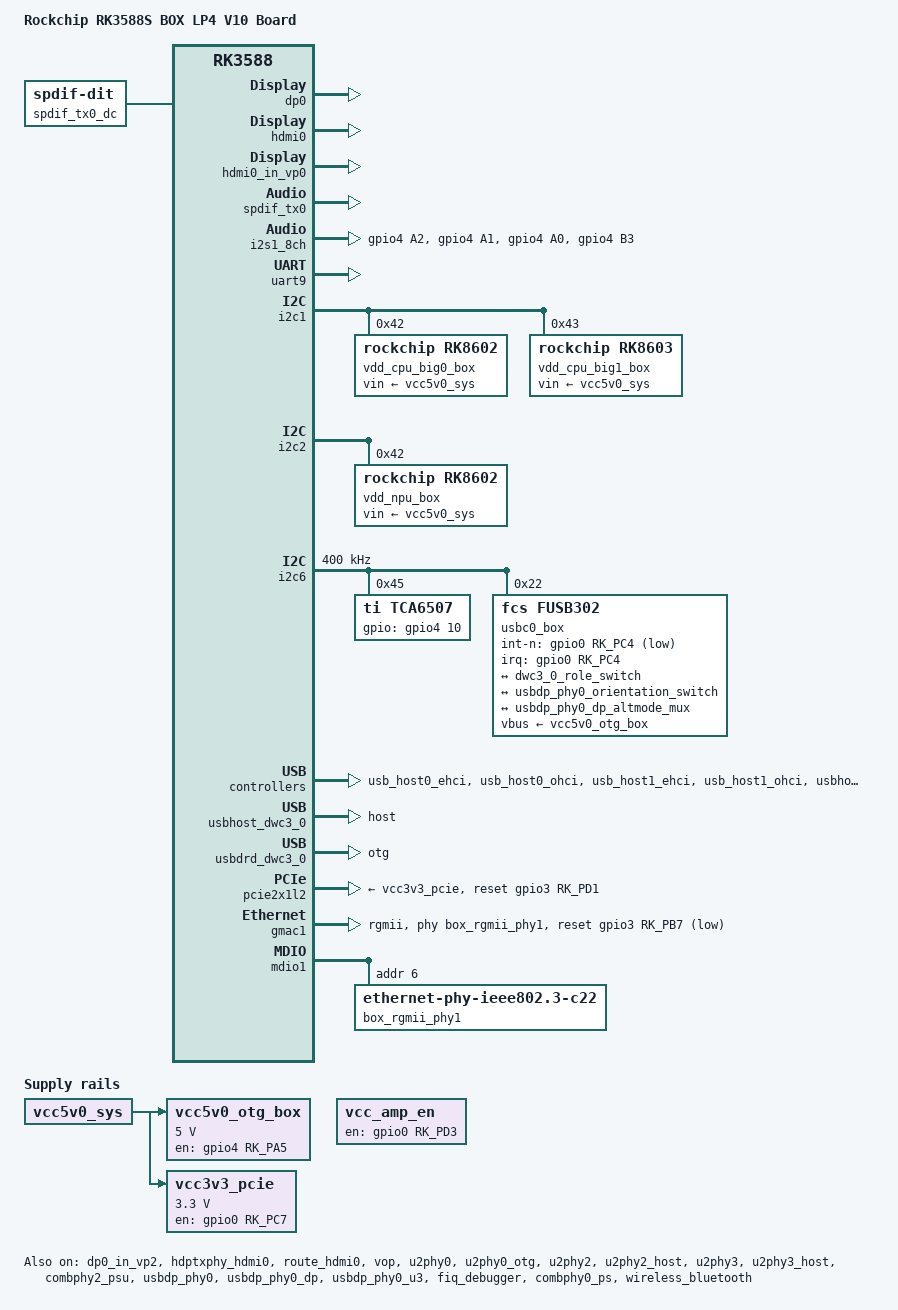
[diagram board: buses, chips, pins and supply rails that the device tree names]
// SPDX-License-Identifier: (GPL-2.0+ OR MIT)
/*
 * Copyright (c) 2026
 *
 * Vendor-kernel DTS for the board identified from an Android boot.img DTB.
 * Provenance from the extracted DTB:
 *   - model: "Rockchip RK3588S BOX LP4 V10 Board"
 *   - compatible: "rockchip,rk3588s-box-v10", "rockchip,rk3588"
 *
 * The extracted DTB string set matches the RK3588S EVB1 LP4X vendor family
 * more closely than the other in-tree RK3588S vendor boards:
 *   - RK806 single PMIC
 *   - AP6275P Wi-Fi/BT
 *   - FUSB302 Type-C
 *   - HDMI/DP audio nodes
 *
 * Keep the inheritance narrow and disable EVB1 tablet-style peripherals that
 * are not justified by the extracted Android DTB.
 */

/dts-v1/;

#include "rk3588s-tablet-single.dtsi"
#include "rk3588-linux.dtsi"

/ {
	model = "Rockchip RK3588S BOX LP4 V10 Board";
	compatible = "rockchip,rk3588s-box-v10", "rockchip,rk3588";

	/delete-node/ chosen;

	vcc5v0_otg_box: vbus5v0_typec: vcc5v0-otg-regulator {
		compatible = "regulator-fixed";
		regulator-name = "vcc5v0_otg";
		regulator-min-microvolt = <5000000>;
		regulator-max-microvolt = <5000000>;
		enable-active-high;
		gpio = <&gpio4 RK_PA5 GPIO_ACTIVE_HIGH>;
		vin-supply = <&vcc5v0_sys>;
		pinctrl-names = "default";
		pinctrl-0 = <&vcc5v0_otg_en_box>;
	};

	vcc3v3_pcie: vcc3v3-pcie {
		compatible = "regulator-fixed";
		regulator-name = "vcc3v3_pcie";
		regulator-min-microvolt = <3300000>;
		regulator-max-microvolt = <3300000>;
		startup-delay-us = <5000>;
		enable-active-high;
		gpio = <&gpio0 RK_PC7 GPIO_ACTIVE_HIGH>;
		vin-supply = <&vcc5v0_sys>;
	};

	spdif_tx0_dc: spdif-tx0-dc {
		compatible = "linux,spdif-dit";
		#sound-dai-cells = <0>;
		status = "okay";
	};

	spdif_tx0_sound: spdif-tx0-sound {
		compatible = "simple-audio-card";
		simple-audio-card,name = "rockchip,spdif";
		simple-audio-card,mclk-fs = <128>;
		status = "okay";

		simple-audio-card,cpu {
			sound-dai = <&spdif_tx0>;
		};

		simple-audio-card,codec {
			sound-dai = <&spdif_tx0_dc>;
		};
	};

	es7148: dummy-codec {
		compatible = "rockchip,dummy-codec";
		#sound-dai-cells = <0>;
		clocks = <&mclkout_i2s1>;
		clock-names = "mclk";
		assigned-clocks = <&mclkout_i2s1>;
		assigned-clock-rates = <12288000>;
		status = "okay";
	};

	vcc_amp_en: vcc-amp-en-regulator {
		compatible = "regulator-fixed";
		regulator-name = "vcc_amp_en";
		enable-active-high;
		gpio = <&gpio0 RK_PD3 GPIO_ACTIVE_HIGH>;
		pinctrl-names = "default";
		pinctrl-0 = <&amp_en_gpio>;
		regulator-always-on;
		regulator-boot-on;
	};

	i2s1_sound: i2s1-sound {
		compatible = "simple-audio-card";
		simple-audio-card,format = "i2s";
		simple-audio-card,mclk-fs = <256>;
		simple-audio-card,name = "rockchip,es7148";
		status = "okay";

		simple-audio-card,dai-link@0 {
			format = "i2s";

			cpu {
				sound-dai = <&i2s1_8ch>;
			};

			codec {
				sound-dai = <&es7148>;
			};
		};
	};

};

&{/aliases} {
	/delete-property/ spi5;
};

/delete-node/ &sfc;

&vcc5v0_host {
	gpio = <&gpio0 RK_PD0 GPIO_ACTIVE_HIGH>;
	vin-supply = <&vcc5v0_usb>;
	pinctrl-names = "default";
	pinctrl-0 = <&vcc5v0_host_en>;
};

&pinctrl {
	pinctrl-names = "default";
	pinctrl-0 = <&vcc5v0_limit_en &hdmi_en_gpio>;

	hdmi {
		hdmi_en_gpio: hdmi-en-gpio {
			rockchip,pins = <4 RK_PB5 RK_FUNC_GPIO &pcfg_output_high>;
		};
	};

	audio {
		amp_en_gpio: amp-en-gpio {
			rockchip,pins = <0 RK_PD3 RK_FUNC_GPIO &pcfg_pull_none>;
		};

		codec_i2s1m0_lrck: codec-i2s1m0-lrck {
			rockchip,pins = <4 RK_PA2 3 &pcfg_pull_none>;
		};

		codec_i2s1m0_sclk: codec-i2s1m0-sclk {
			rockchip,pins = <4 RK_PA1 3 &pcfg_pull_none>;
		};

		codec_i2s1m0_mclk: codec-i2s1m0-mclk {
			rockchip,pins = <4 RK_PA0 3 &pcfg_pull_none>;
		};

		codec_i2s1m0_sdo2: codec-i2s1m0-sdo2 {
			rockchip,pins = <4 RK_PB3 3 &pcfg_pull_none>;
		};
	};

	wireless-bluetooth {
		uart9_gpios_box: uart9-gpios-box {
			rockchip,pins = <3 RK_PD2 RK_FUNC_GPIO &pcfg_pull_none>;
		};

		bt_reset_gpio_box: bt-reset-gpio-box {
			rockchip,pins = <0 RK_PC5 RK_FUNC_GPIO &pcfg_pull_none>;
		};

		bt_wake_gpio_box: bt-wake-gpio-box {
			rockchip,pins = <0 RK_PC6 RK_FUNC_GPIO &pcfg_pull_none>;
		};

		bt_irq_gpio_box: bt-irq-gpio-box {
			rockchip,pins = <0 RK_PB0 RK_FUNC_GPIO &pcfg_pull_down>;
		};
	};

	usb {
		vcc5v0_host_en: vcc5v0-host-en {
			rockchip,pins = <0 RK_PD0 RK_FUNC_GPIO &pcfg_output_high>;
		};

		vcc5v0_limit_en: vcc5v0-limit-en {
			rockchip,pins = <4 RK_PA6 RK_FUNC_GPIO &pcfg_output_high>;
		};
	};
};

/*
 * The vendor DTB exposes HDMI/DP, Type-C, AP6275P and RK806-family strings,
 * but gives no clear evidence for the EVB1's internal panel/touch/sensor
 * stack. Disable those blocks instead of inheriting them by default.
 */
&backlight {
	status = "disabled";
};

&edp0 {
	status = "disabled";
};

&edp0_in_vp2 {
	status = "disabled";
};

&dp0 {
	status = "okay";
};

&dp0_in_vp1 {
	status = "disabled";
};

&dp0_in_vp2 {
	status = "okay";
};

&hall_sensor {
	status = "disabled";
};

&i2c4 {
	status = "disabled";
};

&i2c5 {
	status = "disabled";
};

&route_edp0 {
	status = "disabled";
};

&hdmi0 {
	enable-gpios = <&gpio4 RK_PB6 GPIO_ACTIVE_HIGH>;
	pinctrl-names = "default";
	pinctrl-0 = <&hdmim1_tx0_cec &hdmim0_tx0_hpd
		     &hdmim0_tx0_scl &hdmim0_tx0_sda>;
	status = "okay";
};

&hdmi0_in_vp0 {
	status = "okay";
};

&hdptxphy0 {
	status = "disabled";
};

&hdptxphy_hdmi0 {
	status = "okay";
};

&route_hdmi0 {
	status = "okay";
	logo,mode = "fullscreen";
	connect = <&vp0_out_hdmi0>;
};

&display_subsystem {
	clocks = <&hdptxphy_hdmi0>;
	clock-names = "hdmi0_phy_pll";
};

&hdmi0 {
	cec-enable = "true";
	pinctrl-names = "default";
	pinctrl-0 = <&hdmim1_tx0_cec &hdmim0_tx0_hpd &hdmim0_tx0_scl &hdmim0_tx0_sda>;
};

&vop {
	status = "okay";
};

&vop_mmu {
	status = "okay";
};

&vp0 {
	rockchip,plane-mask = <(1 << ROCKCHIP_VOP2_CLUSTER0 | 1 << ROCKCHIP_VOP2_ESMART0)>;
	rockchip,primary-plane = <ROCKCHIP_VOP2_ESMART0>;
};

&vp1 {
	rockchip,plane-mask = <(1 << ROCKCHIP_VOP2_CLUSTER1 | 1 << ROCKCHIP_VOP2_ESMART1)>;
	rockchip,primary-plane = <ROCKCHIP_VOP2_ESMART1>;
};

&vp2 {
	rockchip,plane-mask = <(1 << ROCKCHIP_VOP2_CLUSTER2 | 1 << ROCKCHIP_VOP2_ESMART2)>;
	rockchip,primary-plane = <ROCKCHIP_VOP2_ESMART2>;
};

&vp3 {
	rockchip,plane-mask = <(1 << ROCKCHIP_VOP2_CLUSTER3 | 1 << ROCKCHIP_VOP2_ESMART3)>;
	rockchip,primary-plane = <ROCKCHIP_VOP2_ESMART3>;
};

&{/panel-edp} {
	status = "disabled";
};

&spdif_tx0 {
	pinctrl-names = "default";
	pinctrl-0 = <&spdif0m1_tx>;
	status = "okay";
};

&i2s1_8ch {
	/delete-property/ rockchip,trcm-sync-tx-only;
	/delete-property/ i2s-lrck-gpio;
	pinctrl-names = "default";
	pinctrl-0 = <&codec_i2s1m0_lrck &codec_i2s1m0_sclk
		     &codec_i2s1m0_mclk &codec_i2s1m0_sdo2>;
	rockchip,clk-trcm = <1>;
	rockchip,i2s-tx-route = <2 1 0 3>;
	status = "okay";
};

&uart0 {
	status = "disabled";
};

&uart1 {
	status = "disabled";
};

&uart2 {
	status = "disabled";
};

&uart3 {
	status = "disabled";
};

&uart4 {
	status = "disabled";
};

&uart5 {
	status = "disabled";
};

&uart6 {
	status = "disabled";
};

&uart7 {
	status = "disabled";
};

&uart8 {
	status = "disabled";
};

&uart9 {
	pinctrl-names = "default";
	pinctrl-0 = <&uart9m2_xfer &uart9m2_ctsn>;
	status = "okay";
};

&i2c0 {
	status = "disabled";
};

&i2c1 {
	status = "okay";
	pinctrl-names = "default";
	pinctrl-0 = <&i2c1m2_xfer>;

	vdd_cpu_big0_box: vdd_cpu_big0_mem_box: rk8602@42 {
		compatible = "rockchip,rk8602";
		reg = <0x42>;
		vin-supply = <&vcc5v0_sys>;
		regulator-compatible = "rk860x-reg";
		regulator-name = "vdd_cpu_big0_s0";
		regulator-min-microvolt = <550000>;
		regulator-max-microvolt = <1050000>;
		regulator-ramp-delay = <2300>;
		rockchip,suspend-voltage-selector = <1>;
		regulator-boot-on;
		regulator-always-on;
		regulator-state-mem {
			regulator-off-in-suspend;
		};
	};

	vdd_cpu_big1_box: vdd_cpu_big1_mem_box: rk8603@43 {
		compatible = "rockchip,rk8603";
		reg = <0x43>;
		vin-supply = <&vcc5v0_sys>;
		regulator-compatible = "rk860x-reg";
		regulator-name = "vdd_cpu_big1_s0";
		regulator-min-microvolt = <550000>;
		regulator-max-microvolt = <1050000>;
		regulator-ramp-delay = <2300>;
		rockchip,suspend-voltage-selector = <1>;
		regulator-boot-on;
		regulator-always-on;
		regulator-state-mem {
			regulator-off-in-suspend;
		};
	};
};

&i2c2 {
	status = "okay";

	vdd_npu_box: vdd_npu_mem_box: rk8602@42 {
		compatible = "rockchip,rk8602";
		reg = <0x42>;
		vin-supply = <&vcc5v0_sys>;
		regulator-compatible = "rk860x-reg";
		regulator-name = "vdd_npu_s0";
		regulator-min-microvolt = <550000>;
		regulator-max-microvolt = <950000>;
		regulator-ramp-delay = <2300>;
		rockchip,suspend-voltage-selector = <1>;
		regulator-boot-on;
		regulator-always-on;
		regulator-state-mem {
			regulator-off-in-suspend;
		};
	};
};

&i2c6 {
	status = "okay";
	pinctrl-names = "default";
	pinctrl-0 = <&i2c6m3_xfer>;
	clock-frequency = <400000>;

	/delete-node/ cw2015@62;
	/delete-node/ bq25703@6b;

	tca6507@45 {
		compatible = "ti,tca6507";
		reg = <0x45>;
		gpios = <&gpio4 10 GPIO_ACTIVE_HIGH>;
		#address-cells = <1>;
		#size-cells = <0>;
		status = "okay";

		led@0 {
			reg = <0>;
			label = "front:led0:power";
			linux,default-trigger = "default-on";
		};

		led@1 {
			reg = <1>;
			label = "front:led1:cpu";
			linux,default-trigger = "cpu";
		};

		led@2 {
			reg = <2>;
			label = "front:led2:eth";
			linux,default-trigger = "netdev";
			linux,netdev-name = "end1";
			linux,netdev-link;
			linux,netdev-rx;
			linux,netdev-tx;
		};

		led@3 {
			reg = <3>;
			label = "front:led3:disk";
			linux,default-trigger = "disk-activity";
		};

		led@4 {
			reg = <4>;
			label = "front:led4:usb-gadget";
			linux,default-trigger = "usb-gadget";
		};

		led@5 {
			reg = <5>;
			label = "front:led5:usb-host";
			linux,default-trigger = "usb-host";
		};

		led@6 {
			reg = <6>;
			label = "front:led6:wifi";
			linux,default-trigger = "netdev";
			linux,netdev-name = "wlP4p65s0";
			linux,netdev-link;
			linux,netdev-rx;
			linux,netdev-tx;
		};
	};

	usbc0_box: fusb302@22 {
		compatible = "fcs,fusb302";
		reg = <0x22>;
		interrupt-parent = <&gpio0>;
		interrupts = <RK_PC4 IRQ_TYPE_LEVEL_LOW>;
		int-n-gpios = <&gpio0 RK_PC4 GPIO_ACTIVE_LOW>;
		pinctrl-names = "default";
		pinctrl-0 = <&usbc0_int>;
		vbus-supply = <&vcc5v0_otg_box>;
		status = "okay";

		ports {
			#address-cells = <1>;
			#size-cells = <0>;

			port@0 {
				reg = <0>;
				usbc0_role_sw_box: endpoint@0 {
					remote-endpoint = <&dwc3_0_role_switch>;
				};
			};
		};

		usb_con_box: connector {
			compatible = "usb-c-connector";
			label = "USB-C";
			data-role = "dual";
			power-role = "dual";
			try-power-role = "sink";
			op-sink-microwatt = <1000000>;
			sink-pdos = <PDO_FIXED(5000, 100, PDO_FIXED_USB_COMM)>;
			source-pdos = <PDO_FIXED(5000, 300, PDO_FIXED_USB_COMM)>;

			altmodes {
				#address-cells = <1>;
				#size-cells = <0>;

				altmode@0 {
					reg = <0>;
					svid = <0xff01>;
					vdo = <0xffffffff>;
				};
			};

			ports {
				#address-cells = <1>;
				#size-cells = <0>;

				port@0 {
					reg = <0>;
					usbc0_orien_sw_box: endpoint {
						remote-endpoint = <&usbdp_phy0_orientation_switch>;
					};
				};

				port@1 {
					reg = <1>;
					dp_altmode_mux_box: endpoint {
						remote-endpoint = <&usbdp_phy0_dp_altmode_mux>;
					};
				};
			};
		};
	};
};

&cpu_b0 {
	cpu-supply = <&vdd_cpu_big0_box>;
	mem-supply = <&vdd_cpu_big0_mem_box>;
};

&cpu_b1 {
	cpu-supply = <&vdd_cpu_big0_box>;
	mem-supply = <&vdd_cpu_big0_mem_box>;
};

&cpu_b2 {
	cpu-supply = <&vdd_cpu_big1_box>;
	mem-supply = <&vdd_cpu_big1_mem_box>;
};

&cpu_b3 {
	cpu-supply = <&vdd_cpu_big1_box>;
	mem-supply = <&vdd_cpu_big1_mem_box>;
};

&rknpu {
	rknpu-supply = <&vdd_npu_box>;
	mem-supply = <&vdd_npu_mem_box>;
};

&{/charge-animation} {
	regulator-off-in-mem = <&vdd_gpu_s0>, <&vdd_npu_box>,
		<&vdd_vdenc_s0>, <&vdd_gpu_mem_s0>, <&vdd_npu_mem_box>,
		<&vdd_vdenc_mem_s0>, <&vcc_3v3_s0>,
		<&vccio_sd_s0>, <&avdd_0v75_s0>, <&vdd_0v85_s0>,
		<&vdd_cpu_big1_box>, <&vdd_cpu_big0_box>, <&vdd_cpu_lit_s0>,
		<&vdd_cpu_big1_mem_box>, <&vdd_cpu_big0_mem_box>, <&vdd_cpu_lit_mem_s0>,
		<&vddq_ddr_s0>, <&vdd_ddr_s0>, <&vdd_ddr_pll_s0>,
		<&avdd_1v2_s0>, <&vdd_0v75_s0>;
};

&sdio {
	status = "disabled";
};

&sdio_pwrseq {
	status = "disabled";
};

&sdmmc {
	status = "disabled";
};

&sdhci {
	no-led;
};

&vcc_3v3_sd_s0 {
	status = "disabled";
};

&i2c7 {
	status = "disabled";
};

&i2c8 {
	status = "disabled";
	/delete-node/ fusb302@22;
};

&csi2_dcphy0 {
	status = "disabled";
};

&csi2_dcphy1 {
	status = "disabled";
};

&csi2_dphy0_hw {
	status = "disabled";
};

&csi2_dphy1_hw {
	status = "disabled";
};

&mipi_dcphy0 {
	status = "disabled";
};

&mipi_dcphy1 {
	status = "disabled";
};

&mipi0_csi2 {
	status = "disabled";
};

&mipi1_csi2 {
	status = "disabled";
};

&mipi0_csi2_hw {
	status = "disabled";
};

&mipi1_csi2_hw {
	status = "disabled";
};

&mipi2_csi2_hw {
	status = "disabled";
};

&mipi3_csi2_hw {
	status = "disabled";
};

&mipi4_csi2_hw {
	status = "disabled";
};

&mipi5_csi2_hw {
	status = "disabled";
};

&u2phy0 {
	status = "okay";
};

&u2phy0_otg {
	rockchip,typec-vbus-det;
	status = "okay";
};

&u2phy2 {
	status = "okay";
};

&u2phy2_host {
	status = "okay";
	phy-supply = <&vcc5v0_host>;
};

&u2phy3 {
	status = "okay";
};

&u2phy3_host {
	status = "okay";
	phy-supply = <&vcc5v0_host>;
};

&usb_host0_ehci {
	status = "okay";
};

&usb_host0_ohci {
	status = "okay";
};

&usb_host1_ehci {
	status = "okay";
};

&usb_host1_ohci {
	status = "okay";
};

&usbhost3_0 {
	status = "okay";
};

&usbhost_dwc3_0 {
	status = "okay";
	dr_mode = "host";
};

&combphy2_psu {
	status = "okay";
};

&usbdp_phy0 {
	rockchip,dp-lane-mux = <0 1 2 3>;
	orientation-switch;
	svid = <0xff01>;
	sbu1-dc-gpios = <&gpio4 RK_PA3 GPIO_ACTIVE_HIGH>;
	sbu2-dc-gpios = <&gpio4 RK_PA4 GPIO_ACTIVE_HIGH>;
	status = "okay";
};

&usbdp_phy0_dp {
	status = "okay";
};

&usbdp_phy0_u3 {
	status = "okay";
};

&usbdp_phy0_orientation_switch {
	remote-endpoint = <&usbc0_orien_sw_box>;
};

&usbdp_phy0_dp_altmode_mux {
	remote-endpoint = <&dp_altmode_mux_box>;
};

&usbdrd3_0 {
	status = "okay";
};

&usbdrd_dwc3_0 {
	dr_mode = "otg";
	status = "okay";
	usb-role-switch;
};

&dwc3_0_role_switch {
	remote-endpoint = <&usbc0_role_sw_box>;
};

&rkcif {
	status = "disabled";
};

&rkcif_mipi_lvds {
	status = "disabled";
};

&rkcif_mipi_lvds_sditf {
	status = "disabled";
};

&rkcif_mipi_lvds1 {
	status = "disabled";
};

&rkcif_mipi_lvds1_sditf {
	status = "disabled";
};

&rkcif_mipi_lvds2 {
	status = "disabled";
};

&rkcif_mipi_lvds2_sditf {
	status = "disabled";
};

&rkcif_mipi_lvds3 {
	status = "disabled";
};

&rkcif_mipi_lvds3_sditf {
	status = "disabled";
};

&fiq_debugger {
	pinctrl-0 = <&uart2m0_xfer>;
	status = "okay";
};

&combphy0_ps {
	status = "okay";
};

&pcie2x1l2 {
	status = "okay";
	reset-gpios = <&gpio3 RK_PD1 GPIO_ACTIVE_HIGH>;
	vpcie3v3-supply = <&vcc3v3_pcie>;
};

&wireless_bluetooth {
	/* Keep rfkill RTS GPIO on the actual UART9 RTSN pin to avoid
	 * fighting uart9m2_ctsn, which is owned by febc0000.serial.
	 */
	uart_rts_gpios = <&gpio3 RK_PD2 GPIO_ACTIVE_LOW>;
	pinctrl-names = "default", "rts_gpio";
	pinctrl-0 = <&uart9m2_rtsn &bt_reset_gpio_box &bt_wake_gpio_box
		     &bt_irq_gpio_box &clk32k_out0>;
	pinctrl-1 = <&uart9_gpios_box>;
	BT,reset_gpio = <&gpio0 RK_PC5 GPIO_ACTIVE_HIGH>;
	BT,wake_gpio = <&gpio0 RK_PC6 GPIO_ACTIVE_HIGH>;
	BT,wake_host_irq = <&gpio0 RK_PB0 GPIO_ACTIVE_HIGH>;
	status = "okay";
};

&uart7 {
	status = "disabled";
};

&wireless_wlan {
	status = "disabled";
};

&es7202_sound_micarray {
	status = "disabled";
};

&es8388_sound {
	status = "disabled";
};

&es8388 {
	status = "disabled";
};

&mpu6500_acc {
	status = "disabled";
};

&mpu6500_gyro {
	status = "disabled";
};

&hym8563 {
	status = "disabled";
};

&aw8601 {
	status = "disabled";
};

&ov50c40 {
	status = "disabled";
};

&otp_eeprom {
	status = "disabled";
};

&vendor_storage {
	status = "disabled";
};

&gmac1 {
	phy-mode = "rgmii";
	clock_in_out = "output";
	snps,reset-gpio = <&gpio3 RK_PB7 GPIO_ACTIVE_LOW>;
	snps,reset-active-low;
	snps,reset-delays-us = <0 100000 1500000>;
	pinctrl-names = "default";
	pinctrl-0 = <&gmac1_miim
		     &gmac1_tx_bus2
		     &gmac1_rx_bus2
		     &gmac1_rgmii_clk
		     &gmac1_rgmii_bus>;
	tx_delay = <0x42>;
	rx_delay = <0x37>;
	phy-handle = <&box_rgmii_phy1>;
	status = "okay";
};

&mdio1 {
	box_rgmii_phy1: phy@6 {
		compatible = "ethernet-phy-ieee802.3-c22";
		reg = <0x6>;
	};
};

&pinctrl {
	usb-box {
		vcc5v0_otg_en_box: vcc5v0-otg-en-box {
			rockchip,pins = <4 RK_PA5 RK_FUNC_GPIO &pcfg_pull_none>;
		};
	};
};
